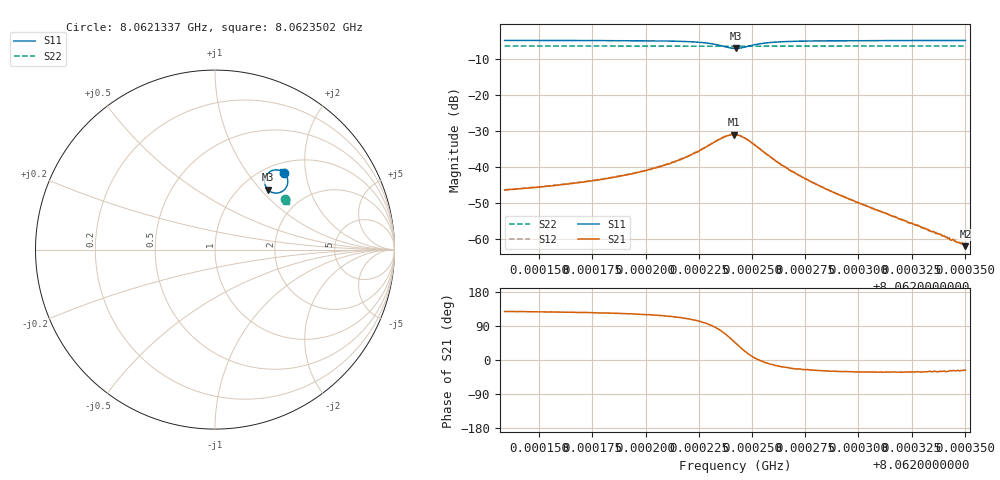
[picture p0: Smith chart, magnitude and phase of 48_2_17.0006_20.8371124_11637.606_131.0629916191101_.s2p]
#  HZ  S  RI  R  50.00
! Rohde & Schwarz Vector Network Analyzer
! Rohde-Schwarz,ZNB20-2Port,1311601062101988,3.16
! Created: UTC 3/20/2024, 10:54:11 PM
! freq[Hz]  re:S11  im:S11  re:S21  im:S21  re:S12  im:S12  re:S22  im:S22
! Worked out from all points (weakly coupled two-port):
!   401 points, 8.0621337 GHz to 8.0623502 GHz, reference 50 ohm
!   highest |S21| = -30.95 dB at 8.0622414 GHz (marker M1); lowest = -61.9 dB at 8.0623502 GHz (marker M2)
!   lowest |S11| = -7.0 dB at 8.0622425 GHz (marker M3), VSWR 2.61, Z = 66 + j54.9 ohm
!   |S11| at or under -10 dB: nowhere
!   |S22| runs from -6.4 to -6.3 dB; largest |S21 - S12| = 0.0023
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8.06213375e9  0.3871 0.4254  -0.00297 0.00378  -0.00276 0.00401  0.3901 0.2828
8.06217001e9  0.3931 0.4183  -0.00357 0.00504  -0.0033 0.00529  0.3914 0.2809
8.06219003e9  0.3976 0.411  -0.00413 0.00653  -0.00377 0.00688  0.3921 0.2794
8.06220627e9  0.4025 0.3995  -0.00458 0.00897  -0.00419 0.00936  0.3927 0.2782
8.06221871e9  0.4058 0.3808  -0.00468 0.0129  -0.00391 0.0134  0.3928 0.2769
8.06222954e9  0.3964 0.3461  -0.00141 0.0198  -0.000194 0.0203  0.3922 0.2749
8.06223657e9  0.3572 0.3168  0.00782 0.0247  0.00988 0.0245  0.3903 0.2741
8.06224144e9  0.3058 0.3251  0.0186 0.0214  0.0203 0.02  0.3885 0.2752
8.06224198e9  0.3006 0.3288  0.0196 0.0204  0.0212 0.019  0.3883 0.2754
8.06224253e9  0.2956 0.3331  0.0205 0.0194  0.022 0.0179  0.3883 0.2754
8.06224469e9  0.2814 0.354  0.0229 0.0145  0.024 0.0127  0.3883 0.2766
8.0622474e9  0.2762 0.3824  0.0231 0.00847  0.0236 0.00659  0.3885 0.2776
8.06225551e9  0.3023 0.4314  0.0162 -0.00163  0.0161 -0.00256  0.3905 0.2788
8.06226038e9  0.3192 0.4405  0.0125 -0.00293  0.0121 -0.00375  0.3915 0.2788
8.06226742e9  0.3363 0.4441  0.00852 -0.00319  0.0085 -0.00382  0.3925 0.2784
8.06227824e9  0.3519 0.4433  0.00553 -0.00277  0.00536 -0.00313  0.3934 0.2775
8.06229773e9  0.3655 0.4393  0.00294 -0.00178  0.0028 -0.00195  0.3946 0.2762
8.0623145e9  0.3717 0.4365  0.00185 -0.00116  0.00179 -0.0013  0.395 0.2751
8.06232911e9  0.3753 0.4345  0.00126 -0.000789  0.00124 -0.000853  0.3959 0.2744
8.0623329e9  0.3762 0.434  0.00117 -0.000692  0.00108 -0.000732  0.396 0.2742
8.06233777e9  0.3772 0.4335  0.00102 -0.00061  0.000999 -0.000685  0.3961 0.2739
8.06235022e9  0.3793 0.432  0.000714 -0.000365  0.000708 -0.00043  0.3966 0.2733
